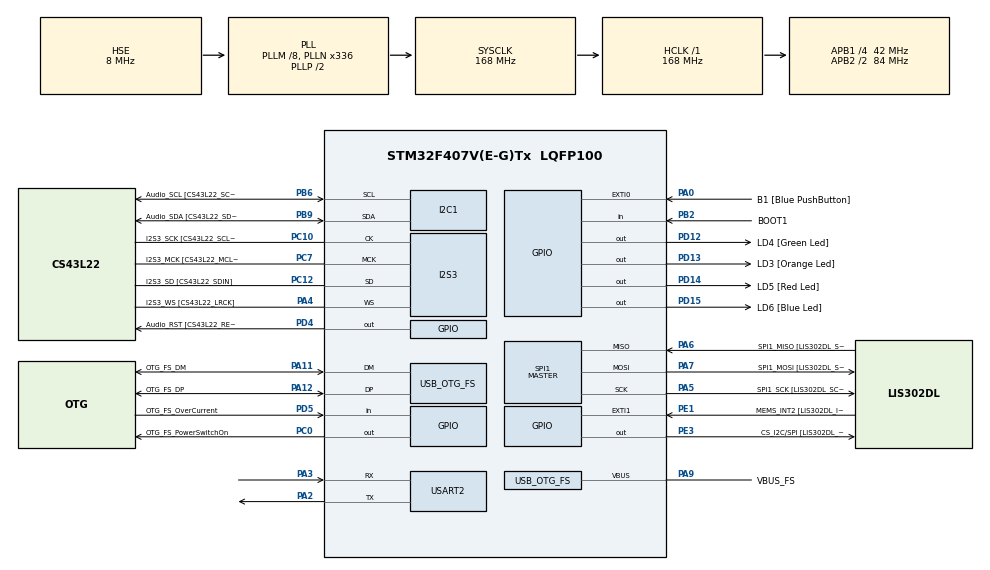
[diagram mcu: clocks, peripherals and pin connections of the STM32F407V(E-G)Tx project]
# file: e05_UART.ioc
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PA11.GPIO_Speed=GPIO_SPEED_FREQ_LOW
PD12.GPIO_Label=LD4 [Green Led]
PH0-OSC_IN.Signal=RCC_OSC_IN
PC10.GPIO_PuPd=GPIO_NOPULL
SPI1.VirtualType=VM_MASTER
PB10.GPIO_PuPd=GPIO_NOPULL
PA10.GPIO_PuPd=GPIO_NOPULL
PC12.Signal=I2S3_SD
PA14.GPIO_Label=SWCLK
PA6.GPIO_Label=SPI1_MISO [LIS302DL_SDO]
PB6.GPIO_Label=Audio_SCL [CS43L22_SCL]
PC15-OSC32_OUT.GPIO_Label=PC15-OSC32_OUT
PC3.GPIO_Speed=GPIO_SPEED_FREQ_LOW
RCC.SYSCLKSource=RCC_SYSCLKSOURCE_PLLCLK
PA6.GPIO_Mode=GPIO_MODE_AF_PP
PD14.GPIO_Speed=GPIO_SPEED_FREQ_LOW
PA4.Mode=Half_Duplex_Master
SPI1.Direction=SPI_DIRECTION_2LINES
I2S3.AudioFreq-Half_Duplex_Master=I2S_AUDIOFREQ_96K
PD4.Signal=GPIO_Output
RCC.APB2TimFreq_Value=168000000
PB6.Signal=I2C1_SCL
PC7.Signal=I2S3_MCK
PB6.Mode=I2C
PC3.Signal=I2S2_SD
PE1.Signal=GPXTI1
USB_OTG_FS.phy_itface=HCD_PHY_EMBEDDED
PB2.Signal=GPIO_Input
I2S3.ErrorAudioFreq=-2.34 %
PA5.GPIO_PuPd=GPIO_NOPULL
I2S3.ErrorAudioFreq-Half_Duplex_Master=0.8 %
PD5.GPIO_Mode=GPIO_MODE_INPUT
PD14.GPIO_PuPd=GPIO_NOPULL
PB2.GPIO_PuPd=GPIO_NOPULL
SPI1.CalculateBaudRate-Full_Duplex_Master=42.0 MBits/s
Mcu.Package=LQFP100
PB9.Signal=I2C1_SDA
PD12.Signal=GPIO_Output
PB9.GPIO_PuPd=GPIO_NOPULL
PA10.Signal=USB_OTG_FS_ID
RCC.APB2CLKDivider=RCC_HCLK_DIV2
RCC.APB1TimFreq_Value=84000000
PC12.GPIO_PuPd=GPIO_NOPULL
PA6.GPIO_Speed=GPIO_SPEED_FREQ_LOW
PA12.GPIO_PuPd=GPIO_NOPULL
PA4.GPIO_Label=I2S3_WS [CS43L22_LRCK]
PD15.Signal=GPIO_Output
PC0.PinState=GPIO_PIN_SET
PA5.Mode=Full_Duplex_Master
I2S3.FullDuplexMode=I2S_FULLDUPLEXMODE_DISABLE
PA9.GPIO_Label=VBUS_FS
PB6.GPIO_PuPd=GPIO_NOPULL
PA11.GPIO_Label=OTG_FS_DM
PE1.GPIO_PuPd=GPIO_NOPULL
PC0.Signal=GPIO_Output
RCC.APB1CLKDivider=RCC_HCLK_DIV4
PC14-OSC32_IN.Signal=RCC_OSC32_IN
PA0-WKUP.GPIO_ModeDefaultEXTI=GPIO_MODE_EVT_RISING
PA0-WKUP.GPIO_Label=B1 [Blue PushButton]
PA0-WKUP.Signal=GPXTI0
USB_HOST0.BSP.STBoard=false
PA3.Mode=Asynchronous
PC10.GPIO_Mode=GPIO_MODE_AF_PP
PB10.GPIO_Mode=GPIO_MODE_AF_PP
PA9.Signal=USB_OTG_FS_VBUS
I2S3.VirtualMode=I2S_MODE_MASTER
PC7.GPIO_PuPd=GPIO_NOPULL
PB10.Signal=I2S2_CK
PA5.Signal=SPI1_SCK
PC12.Mode=Half_Duplex_Master
PE1.GPIO_Label=MEMS_INT2 [LIS302DL_INT2]
USB_HOST.VirtualModeFS=Cdc
PA7.GPIO_Speed=GPIO_SPEED_FREQ_LOW
PB2.GPIO_Mode=GPIO_MODE_INPUT
SPI1.Mode=SPI_MODE_MASTER
PD4.GPIO_Speed=GPIO_SPEED_FREQ_LOW
PE3.GPIO_PuPd=GPIO_NOPULL
PH1-OSC_OUT.GPIO_Label=PH1-OSC_OUT
PA13.Mode=Serial_Wire
PC7.GPIO_Label=I2S3_MCK [CS43L22_MCLK]
PA4.Signal=I2S3_WS
PC12.GPIO_Mode=GPIO_MODE_AF_PP
PA5.GPIO_Label=SPI1_SCK [LIS302DL_SCL/SPC]
PE3.GPIO_Speed=GPIO_SPEED_FREQ_LOW
PC12.GPIO_Label=I2S3_SD [CS43L22_SDIN]
PA11.Signal=USB_OTG_FS_DM
ProjectManager.HeapSize=0x200
NVIC.PriorityGroup=NVIC_PRIORITYGROUP_0
PE3.Signal=GPIO_Output
PC3.GPIO_Label=PDM_OUT [MP45DT02_DOUT]
PA0-WKUP.GPIO_PuPd=GPIO_NOPULL
I2S3.Instance=SPI$Index
PB6.GPIO_Speed=GPIO_SPEED_FREQ_LOW
SPI1.BaudRatePrescaler-Full_Duplex_Master=SPI_BAUDRATEPRESCALER_2
USB_HOST0.BSP.mode=Output
Mcu.Family=STM32F4
PC3.GPIO_Mode=GPIO_MODE_AF_PP
PA6.Mode=Full_Duplex_Master
RCC.CortexFreq_Value=168000000
PB10.GPIO_Speed=GPIO_SPEED_FREQ_LOW
PB6.GPIO_Mode=GPIO_MODE_AF_OD
PD15.GPIO_Speed=GPIO_SPEED_FREQ_LOW
PC10.Signal=I2S3_CK
PA7.GPIO_Mode=GPIO_MODE_AF_PP
PC0.GPIO_Label=OTG_FS_PowerSwitchOn
PA11.Mode=Host_Only
PC10.GPIO_Speed=GPIO_SPEED_FREQ_LOW
PA11.GPIO_PuPd=GPIO_NOPULL
ProjectManager.StackSize=0x400
SPI1.Mode-Full_Duplex_Master=SPI_MODE_MASTER
PD13.Signal=GPIO_Output
PA12.Signal=USB_OTG_FS_DP
RCC.HCLKFreq_Value=168000000
USB_HOST0.BSP.ip=GPIO
RCC.AHBFreq_Value=168000000
PH0-OSC_IN.Mode=HSE-External-Oscillator
PH0-OSC_IN.GPIO_Label=PH0-OSC_IN
PA9.GPIO_Mode=GPIO_MODE_INPUT
RCC.HSE_VALUE=8000000
PA4.GPIO_PuPd=GPIO_NOPULL
PA4.GPIO_Speed=GPIO_SPEED_FREQ_LOW
PA6.GPIO_PuPd=GPIO_NOPULL
PC14-OSC32_IN.Mode=LSE-External-Oscillator
PA14.Mode=Serial_Wire
PA10.GPIO_Label=OTG_FS_ID
PC7.GPIO_Mode=GPIO_MODE_AF_PP
USB_HOST0.BSP.i2creg=0
PH1-OSC_OUT.Mode=HSE-External-Oscillator
USB_HOST0.BSP.i2caddr=0
PD13.GPIO_Label=LD3 [Orange Led]
PA6.Signal=SPI1_MISO
USART2.VirtualMode=VM_ASYNC
USB_HOST.USBH_HandleTypeDef-CDC_FS=hUsbHostFS
PD5.GPIO_Label=OTG_FS_OverCurrent
NVIC.OTG_FS_IRQn=true\:0\:0\:false\:false\:true\:true\:true
PD15.GPIO_PuPd=GPIO_NOPULL
USB_OTG_FS.VirtualMode=Host_Only
PA10.GPIO_Speed=GPIO_SPEED_FREQ_LOW
USB_HOST0.BSP.name=Drive_VBUS_FS
PB9.GPIO_Speed=GPIO_SPEED_FREQ_LOW
PC14-OSC32_IN.GPIO_Label=PC14-OSC32_IN
PC0.GPIO_PuPd=GPIO_NOPULL
PA12.GPIO_Speed=GPIO_SPEED_FREQ_LOW
PA3.Signal=USART2_RX
PB3.GPIO_Label=SWO
PC15-OSC32_OUT.Mode=LSE-External-Oscillator
PD12.GPIO_Speed=GPIO_SPEED_FREQ_LOW
PD15.GPIO_Label=LD6 [Blue Led]
PA7.Mode=Full_Duplex_Master
PB9.GPIO_Label=Audio_SDA [CS43L22_SDA]
PC10.GPIO_Label=I2S3_SCK [CS43L22_SCLK]
USB_HOST0.BSP.solution=PC0
PC10.Mode=Half_Duplex_Master
USB_HOST.BSP.number=1
PD5.Signal=GPIO_Input
PE1.GPIO_ModeDefaultEXTI=GPIO_MODE_EVT_RISING
PA9.GPIO_PuPd=GPIO_NOPULL
NVIC.USART2_IRQn=true\:0\:0\:false\:false\:true\:true\:true
PA12.GPIO_Label=OTG_FS_DP
PA10.GPIO_Mode=GPIO_MODE_AF_PP
PA13.Signal=SYS_JTMS-SWDIO
PD4.GPIO_PuPd=GPIO_NOPULL
PA9.Mode=Activate_VBUS
PC0.GPIO_Speed=GPIO_SPEED_FREQ_LOW
I2S3.RealAudioFreq-Half_Duplex_Master=96.774 KHz
ProjectManager.TargetToolchain=STM32CubeIDE
PB10.GPIO_Label=CLK_IN [MP45DT02_CLK]
PB9.Mode=I2C
PC15-OSC32_OUT.Signal=RCC_OSC32_OUT
PA7.GPIO_PuPd=GPIO_NOPULL
board=STM32F407G-DISC1
PD13.GPIO_Speed=GPIO_SPEED_FREQ_LOW
PC7.GPIO_Speed=GPIO_SPEED_FREQ_LOW
RCC.VCOOutputFreq_Value=336000000
PB9.GPIO_Mode=GPIO_MODE_AF_OD
PA12.GPIO_Mode=GPIO_MODE_AF_PP
PA4.GPIO_Mode=GPIO_MODE_AF_PP
RCC.APB2Freq_Value=84000000
USB_HOST0.BSP.api=Unknown
PD4.GPIO_Label=Audio_RST [CS43L22_RESET]
PH1-OSC_OUT.Signal=RCC_OSC_OUT
PD13.GPIO_PuPd=GPIO_NOPULL
PD5.GPIO_PuPd=GPIO_NOPULL
PD14.GPIO_Label=LD5 [Red Led]
Mcu.Name=STM32F407V(E-G)Tx
PA2.Signal=USART2_TX
PA13.GPIO_Label=SWDIO
PD14.Signal=GPIO_Output
RCC.48MHZClocksFreq_Value=48000000
PB3.Signal=SYS_JTDO-SWO
RCC.SYSCLKFreq_VALUE=168000000
PA7.GPIO_Label=SPI1_MOSI [LIS302DL_SDA/SDI/SDO]
PA12.Mode=Host_Only
VP_USB_HOST_VS_USB_HOST_CDC_FS.Mode=CDC_FS
PA14.Signal=SYS_JTCK-SWCLK
PB2.GPIO_Label=BOOT1
RCC.HSI_VALUE=16000000
PA5.GPIO_Speed=GPIO_SPEED_FREQ_LOW
RCC.PLLQ=7
I2S3.RealAudioFreq=93.75 KHz
RCC.PLLM=8
RCC.PLLN=336
PA2.Mode=Asynchronous
PE3.GPIO_Label=CS_I2C/SPI [LIS302DL_CS_I2C/SPI]
PC7.Mode=Master_Clock_Activated
PA11.GPIO_Mode=GPIO_MODE_AF_PP
RCC.APB1Freq_Value=42000000
PA5.GPIO_Mode=GPIO_MODE_AF_PP
PC12.GPIO_Speed=GPIO_SPEED_FREQ_LOW
PC3.GPIO_PuPd=GPIO_NOPULL
PD12.GPIO_PuPd=GPIO_NOPULL
PA7.Signal=SPI1_MOSI
USB_HOST0.BSP.instance=PC0

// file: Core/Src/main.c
/* USER CODE BEGIN Header */
/**
  ******************************************************************************
  * @file           : main.c
  * @brief          : Main program body
  ******************************************************************************
  * @attention
  *
  * <h2><center>&copy; Copyright (c) 2021 STMicroelectronics.
  * All rights reserved.</center></h2>
  *
  * This software component is licensed by ST under Ultimate Liberty license
  * SLA0044, the "License"; You may not use this file except in compliance with
  * the License. You may obtain a copy of the License at:
  *                             www.st.com/SLA0044
  *
  ******************************************************************************
  */
/* USER CODE END Header */
#include "main.h"
#include "i2c.h"
#include "i2s.h"
#include "spi.h"
#include "usart.h"
#include "usb_host.h"
#include "gpio.h"

/* USER CODE BEGIN PV */
uint8_t znak, komunikat[20];
uint16_t dl_kom;

/* USER CODE END PV */

void SystemClock_Config(void);
void MX_USB_HOST_Process(void);

int main(void)
{

  /* MCU Configuration--------------------------------------------------------*/

  /* Reset of all peripherals, Initializes the Flash interface and the Systick. */
  HAL_Init();

  /* Configure the system clock */
  SystemClock_Config();

  /* Initialize all configured peripherals */
  MX_GPIO_Init();
  MX_I2C1_Init();
  MX_I2S3_Init();
  MX_SPI1_Init();
  MX_USB_HOST_Init();
  MX_USART2_UART_Init();
  /* USER CODE BEGIN 2 */
  HAL_UART_Receive_IT(&huart2, &znak, 1);
  /* USER CODE END 2 */

  /* Infinite loop */
  while (1)
  {
    MX_USB_HOST_Process();

  }
}

void SystemClock_Config(void)
{
  RCC_OscInitTypeDef RCC_OscInitStruct = {0};
  RCC_ClkInitTypeDef RCC_ClkInitStruct = {0};
  RCC_PeriphCLKInitTypeDef PeriphClkInitStruct = {0};

  /** Configure the main internal regulator output voltage
  */
  __HAL_RCC_PWR_CLK_ENABLE();
  __HAL_PWR_VOLTAGESCALING_CONFIG(PWR_REGULATOR_VOLTAGE_SCALE1);
  /** Initializes the RCC Oscillators according to the specified parameters
  * in the RCC_OscInitTypeDef structure.
  */
  RCC_OscInitStruct.OscillatorType = RCC_OSCILLATORTYPE_HSE;
  RCC_OscInitStruct.HSEState = RCC_HSE_ON;
  RCC_OscInitStruct.PLL.PLLState = RCC_PLL_ON;
  RCC_OscInitStruct.PLL.PLLSource = RCC_PLLSOURCE_HSE;
  RCC_OscInitStruct.PLL.PLLM = 8;
  RCC_OscInitStruct.PLL.PLLN = 336;
  RCC_OscInitStruct.PLL.PLLP = RCC_PLLP_DIV2;
  RCC_OscInitStruct.PLL.PLLQ = 7;
  if (HAL_RCC_OscConfig(&RCC_OscInitStruct) != HAL_OK)
  {
    Error_Handler();
  }
  /** Initializes the CPU, AHB and APB buses clocks
  */
  RCC_ClkInitStruct.ClockType = RCC_CLOCKTYPE_HCLK|RCC_CLOCKTYPE_SYSCLK
                              |RCC_CLOCKTYPE_PCLK1|RCC_CLOCKTYPE_PCLK2;
  RCC_ClkInitStruct.SYSCLKSource = RCC_SYSCLKSOURCE_PLLCLK;
  RCC_ClkInitStruct.AHBCLKDivider = RCC_SYSCLK_DIV1;
  RCC_ClkInitStruct.APB1CLKDivider = RCC_HCLK_DIV4;
  RCC_ClkInitStruct.APB2CLKDivider = RCC_HCLK_DIV2;

  if (HAL_RCC_ClockConfig(&RCC_ClkInitStruct, FLASH_LATENCY_5) != HAL_OK)
  {
    Error_Handler();
  }
  PeriphClkInitStruct.PeriphClockSelection = RCC_PERIPHCLK_I2S;
  PeriphClkInitStruct.PLLI2S.PLLI2SN = 192;
  PeriphClkInitStruct.PLLI2S.PLLI2SR = 2;
  if (HAL_RCCEx_PeriphCLKConfig(&PeriphClkInitStruct) != HAL_OK)
  {
    Error_Handler();
  }
}

/* USER CODE BEGIN 4 */
void HAL_UART_RxCpltCallback(UART_HandleTypeDef *huart){
	if(huart ->Instance == USART2)
	{
		if(znak == 'e')
		{
			HAL_GPIO_WritePin(LD3_GPIO_Port, LD3_Pin, GPIO_PIN_SET);
			dl_kom = sprintf(komunikat, "DIODA ON\n\r");
//			dl_kom = 10;
		}
		else if(znak == 'd')
		{
			HAL_GPIO_WritePin(LD3_GPIO_Port, LD3_Pin, GPIO_PIN_RESET);
			dl_kom =sprintf(komunikat, "DIODA OFF\n\r");
//			dl_kom = 11;
		}
		else
		{
			dl_kom = sprintf(komunikat, "ZLY ZNAK");
//			dl_kom = 8;
		}
		HAL_UART_Transmit_IT(&huart2, komunikat, dl_kom);
		HAL_UART_Receive_IT(&huart2, &znak, 1);
	}
}
/* USER CODE END 4 */

void Error_Handler(void)
{
  __disable_irq();
  while (1)
  {
  }
}

/************************ (C) COPYRIGHT STMicroelectronics *****END OF FILE****/
